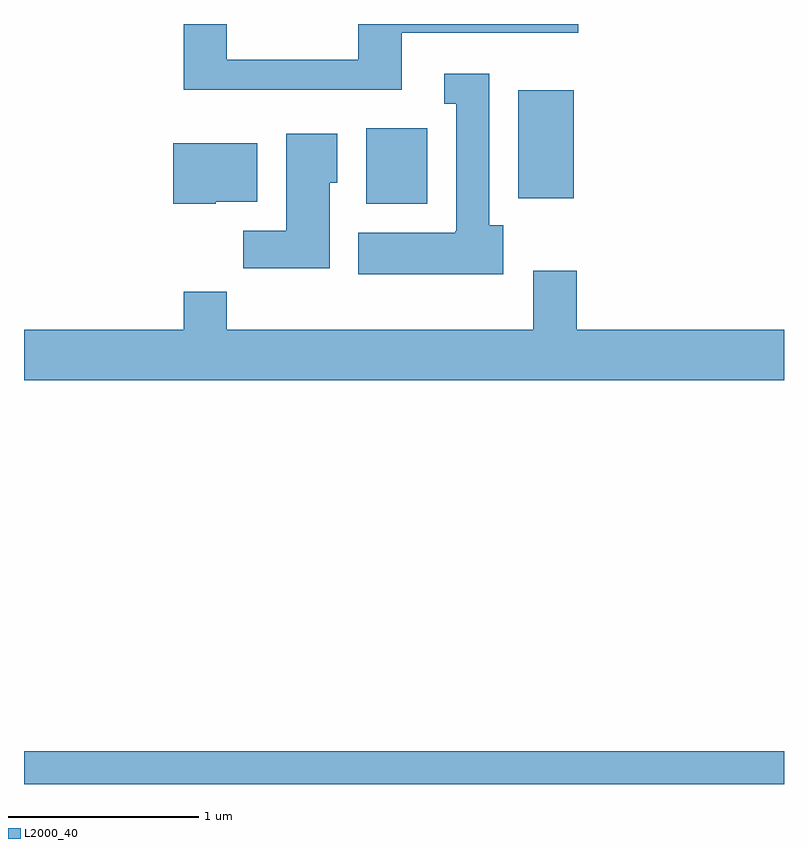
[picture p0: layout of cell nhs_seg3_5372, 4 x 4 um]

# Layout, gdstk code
import gdstk
lib = gdstk.Library(unit=1e-6, precision=1e-09)
def R(c, l, rs):  # rectangles x0, y0, x1, y1
    for r in rs: c.add(gdstk.rectangle(r[:2], r[2:], *l))
def P(c, l, *ps):  # polygons
    for p in ps: c.add(gdstk.Polygon(p, *l))
L2000_40 = (2000, 40)

nhs_seg3_5372 = lib.new_cell('nhs_seg3_5372')
R(nhs_seg3_5372, L2000_40, [(343.611,1123.892,347.611,1124.064), (345.411,1126.946,345.734,1127.344), (346.211,1126.976,346.504,1127.544)])
P(nhs_seg3_5372, L2000_40, [(345.599,1127.846),(346.528,1127.846),(346.528,1127.892),(345.371,1127.892),(345.371,1127.704),(344.679,1127.704),(344.679,1127.892),(344.451,1127.892),(344.451,1127.546),(345.599,1127.546)],
  [(346.134,1126.834),(346.059,1126.834),(346.059,1127.629),(345.823,1127.629),(345.823,1127.471),(345.886,1127.471),(345.886,1126.8),(345.88,1126.8),(345.88,1126.794),(345.371,1126.794),(345.371,1126.576),(346.134,1126.576)],
  [(345.219,1127.056),(345.259,1127.056),(345.259,1127.314),(344.991,1127.314),(344.991,1126.804),(344.766,1126.804),(344.766,1126.606),(345.219,1126.606)],
  [(344.62,1126.956),(344.839,1126.956),(344.839,1127.264),(344.396,1127.264),(344.396,1126.946),(344.62,1126.946)],
  [(347.611,1126.284),(346.519,1126.284),(346.519,1126.594),(346.291,1126.594),(346.291,1126.284),(344.679,1126.284),(344.679,1126.484),(344.451,1126.484),(344.451,1126.284),(343.611,1126.284),(343.611,1126.016),(347.611,1126.016)])

lib.write_gds('nhs_seg3_5372.gds')
